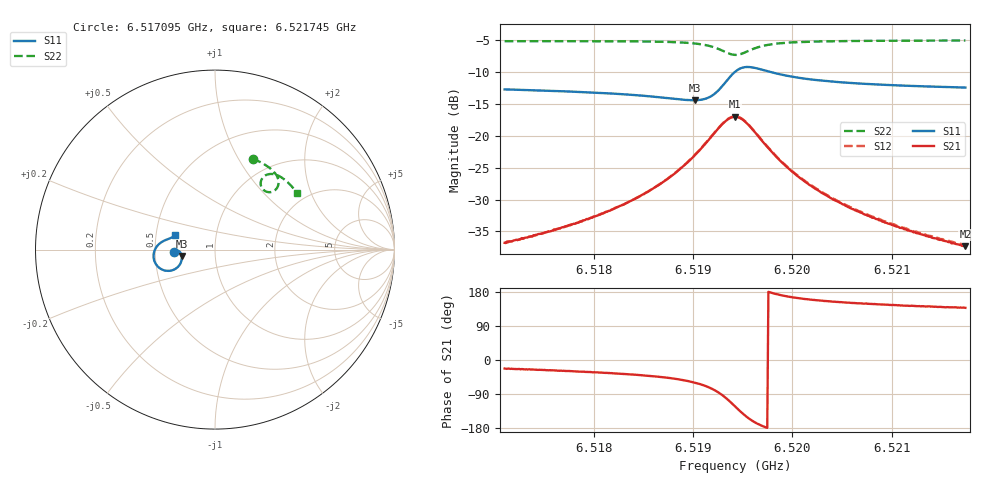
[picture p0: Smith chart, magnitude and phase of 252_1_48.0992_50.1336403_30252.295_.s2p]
#  HZ  S  RI  R  50.00
! Rohde & Schwarz Vector Network Analyzer
! Rohde-Schwarz,ZNB20-2Port,1311601062101988,3.16
! Created: UTC 12/23/2023, 3:59:51 AM
! freq[Hz]  re:S11  im:S11  re:S21  im:S21  re:S12  im:S12  re:S22  im:S22
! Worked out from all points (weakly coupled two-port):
!   401 points, 6.517095 GHz to 6.521745 GHz, reference 50 ohm
!   highest |S21| = -17.05 dB at 6.51942 GHz (marker M1); lowest = -37.3 dB at 6.521745 GHz (marker M2)
!   lowest |S11| = -14.5 dB at 6.519013 GHz (marker M3), VSWR 1.47, Z = 34.3 - j2.56 ohm
!   |S11| at or under -10 dB: start of sweep to 6.519421 GHz; 6.51977 GHz to end of sweep
!   |S22| runs from -7.4 to -5.1 dB; largest |S21 - S12| = 0.0042
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6.517095e9  -0.2296 -0.0152  0.0134 -0.00553  0.0135 -0.00517  0.2099 0.5068
6.5175832e9  -0.2239 -0.00828  0.0161 -0.0084  0.0162 -0.00778  0.2458 0.4908
6.5178738e9  -0.2194 -0.00519  0.0184 -0.011  0.0186 -0.0103  0.2673 0.4794
6.518269e9  -0.2113 -0.00361  0.0228 -0.0168  0.0234 -0.016  0.2968 0.4604
6.5184783e9  -0.2057 -0.0049  0.0262 -0.0221  0.0268 -0.0213  0.313 0.4477
6.5186527e9  -0.1997 -0.00873  0.0294 -0.0288  0.0306 -0.028  0.3266 0.435
6.518827e9  -0.1928 -0.0168  0.0331 -0.0396  0.0347 -0.0388  0.3401 0.4181
6.519013e9  -0.1858 -0.0361  0.0354 -0.0605  0.0374 -0.0598  0.3523 0.3917
6.5191176e9  -0.1857 -0.056  0.032 -0.0796  0.0347 -0.0793  0.3542 0.3703
6.519199e9  -0.1931 -0.0782  0.022 -0.0995  0.0251 -0.0996  0.349 0.3498
6.5193269e9  -0.2369 -0.1148  -0.0225 -0.1283  -0.0191 -0.1301  0.3149 0.3213
6.5194199e9  -0.2958 -0.1107  -0.075 -0.1188  -0.0723 -0.1218  0.2743 0.3293
6.5194664e9  -0.3212 -0.0916  -0.0956 -0.0992  -0.0934 -0.1027  0.2599 0.3458
6.5195245e9  -0.339 -0.0595  -0.1077 -0.0694  -0.1067 -0.0731  0.2544 0.3706
6.5196175e9  -0.3393 -0.013  -0.103 -0.0295  -0.103 -0.0325  0.2666 0.4016
6.5197221e9  -0.3231 0.019  -0.0855 -0.00466  -0.0861 -0.00705  0.2897 0.4175
6.5199662e9  -0.2883 0.0469  -0.0533 0.0124  -0.0543 0.011  0.333 0.419
6.5201987e9  -0.269 0.0558  -0.0372 0.0144  -0.038 0.0135  0.3601 0.408
6.5205591e9  -0.2516 0.0625  -0.0243 0.0132  -0.0251 0.0128  0.3904 0.3876
6.5209776e9  -0.2394 0.0685  -0.0168 0.0116  -0.0174 0.0112  0.4177 0.3626
6.5213496e9  -0.2313 0.0737  -0.0128 0.0102  -0.0133 0.0101  0.4383 0.3401
6.5217448e9  -0.2243 0.0791  -0.0101 0.00918  -0.0105 0.00914  0.4579 0.3155
